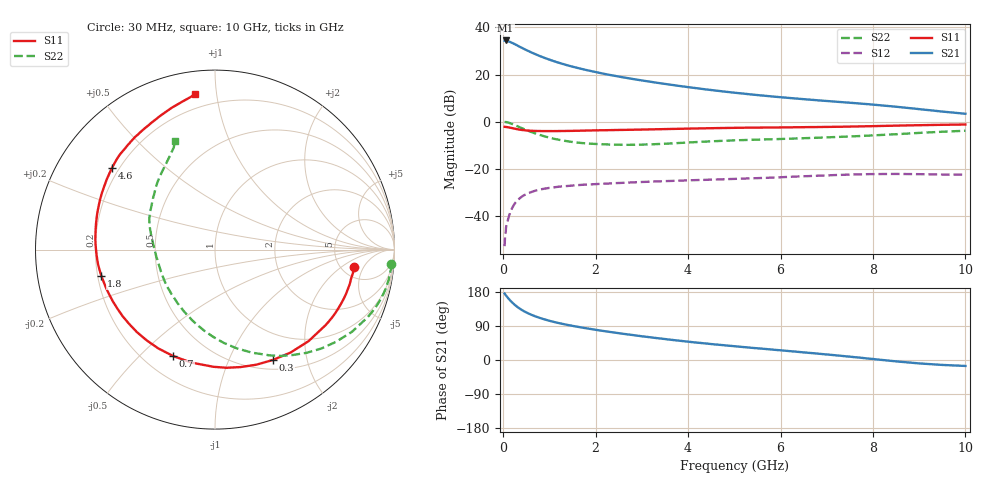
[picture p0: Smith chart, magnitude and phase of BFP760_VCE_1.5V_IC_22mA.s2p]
! Infineon Technologies  Discrete & RF Semiconductors
! BFP760
! VCE =  1.5 V,  IC =  22 mA
! Common Emitter S-Parameters:  Nov 2012
# GHz  S  MA  R  50
!  f  S11  S21  S12  S22
! GHz  MAG  ANG  MAG  ANG  MAG  ANG  MAG  ANG
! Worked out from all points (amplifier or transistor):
!   99 points, 30 MHz to 10 GHz, reference 50 ohm
!   highest |S21| = 34.5 dB at 50 MHz (marker M1)
!   |S21| within 3 dB of that: start of sweep to 390.7 MHz
!   unconditionally stable (mu >= 1): 4.545 GHz to end of sweep
!   at 350 MHz: K = 0.22, MSG = 32.2 dB, |S12| = -32.6 dB
!   at 3.5 GHz: K = 0.88, MSG = 20.6 dB, |S12| = -25.2 dB
!   at 10 GHz: K = 1.12, MAG = 10.8 dB, |S12| = -22.4 dB
!   S11 on the Smith chart (normalised r, x): 30 MHz: 6.44, -3.20; 300 MHz: 0.62, -1.47; 700 MHz: 0.32, -0.63; 1.8 GHz: 0.21, -0.11; 4.6 GHz: 0.17, +0.34; 10 GHz: 0.12, +0.87
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0.03  0.7792 -7.2  52.47 175.5  0.0023 95.8  0.9855 -4.7
0.05  0.7752 -12.0  52.82 171.7  0.0039 81.5  0.9828 -8.0
0.11  0.761 -25.5  50.7 162.7  0.009 75.7  0.9586 -17.8
0.15  0.7463 -34.3  49.01 157.2  0.0121 74.4  0.9302 -23.9
0.2  0.7293 -44.4  46.52 151.1  0.0153 69.3  0.8904 -30.9
0.25  0.7115 -53.7  44.07 145.5  0.0185 65.7  0.8485 -37.2
0.3  0.6944 -62.3  41.57 140.6  0.0212 61.2  0.8086 -43.0
0.4  0.6697 -77.8  37.01 132.2  0.0257 55.4  0.7309 -53.4
0.5  0.6531 -90.7  33.03 125.5  0.0291 50.4  0.6647 -62.5
0.7  0.6372 -111.4  26.9 114.9  0.0347 43.1  0.5619 -77.8
0.9  0.6329 -127.0  22.47 106.9  0.0382 38.1  0.4872 -91.0
1.1  0.6327 -139.2  19.16 100.4  0.0407 34.4  0.4344 -102.4
1.4  0.638 -153.1  15.61 92.4  0.0435 30.8  0.3842 -117.0
1.7  0.6461 -163.9  13.14 85.7  0.0459 28.6  0.3532 -129.7
1.8  0.6501 -167.0  12.47 83.6  0.0465 27.8  0.3479 -133.6
2.5  0.6688 175.3  9.068 70.8  0.0502 25.0  0.3253 -157.0
3.4  0.6947 158.2  6.542 56.7  0.0546 23.1  0.338 179.3
4.6  0.7319 141.7  4.572 40.9  0.0595 21.2  0.3878 159.8
5.1  0.7443 137.1  4.031 35.3  0.0618 20.5  0.4057 154.3
6.7  0.7703 124.8  2.901 18.0  0.071 17.5  0.4541 138.9
8.5  0.8261 107.0  2.079 -3.6  0.0782 8.1  0.5434 120.9
10  0.8733 97.3  1.475 -15.7  0.0756 4.3  0.6442 110.3
